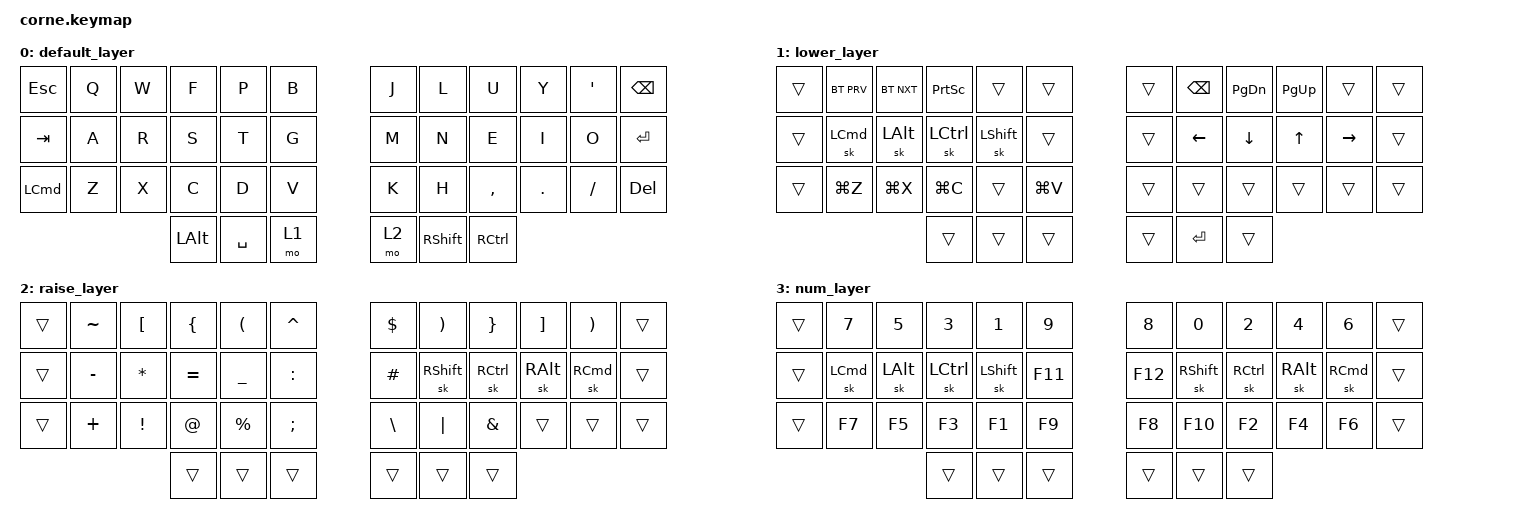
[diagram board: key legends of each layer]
/*
 * Copyright (c) 2020 The ZMK Contributors
 *
 * SPDX-License-Identifier: MIT
 */

#include <behaviors.dtsi>
#include <dt-bindings/zmk/keys.h>
#include <dt-bindings/zmk/bt.h>

/ {
      conditional_layers {
        compatible = "zmk,conditional-layers";

        tri_layer {
            if-layers = <1 2>;
            then-layer = <3>;
        };
    };

        keymap {
                compatible = "zmk,keymap";

                default_layer {
// -----------------------------------------------------------------------------------------
// | ESC  |  Q  |  W  |  F  |  P  |  B  |   |  J  |  L   |  U  |  Y  |  '  | BSPC |
// | TAB  |  A  |  R  |  S  |  T  |  G  |   |  M  |  N   |  E  |  I  |  O  | RET  |
// | CMD  |  Z  |  X  |  C  |  D  |  V  |   |  K  |  H   |  ,  |  .  |  /  | DEL  |
//                    | ALT | SPC | LWR |   | RSE | SHFT | CTRL|
                        bindings = <
   &kp ESC   &kp Q &kp W &kp F &kp P &kp B   &kp J &kp L  &kp U     &kp Y   &kp SQT  &kp BSPC
   &kp TAB   &kp A &kp R &kp S &kp T &kp G   &kp M &kp N  &kp E     &kp I   &kp O    &kp RET
   &kp LCMD &kp Z &kp X &kp C &kp D &kp V   &kp K &kp H  &kp COMMA &kp DOT &kp FSLH &kp DEL
                  &kp LALT &kp SPACE &mo 1    &mo 2 &kp RSHFT &kp RCTRL
                        >;
                };
                lower_layer {
// -----------------------------------------------------------------------------------------
// |      | BTPRV| BTNXT|PSCRN|     |     |   |     | BSPC| PGDN| PGUP|     |      |
// |      | sCMD | sALT | sCTR| sSFT|     |   |     | LEFT| DOWN|  UP | RGHT|      |
// |      | ⌘Z   | ⌘X   | ⌘C  |     | ⌘V  |   |     |     |     |     |     |      |
//                      |     |     |     |   |     | RET |     |
                        bindings = <
   &trans &bt BT_PRV &bt BT_NXT &kp PSCRN &trans    &trans      &trans &kp BSPC &kp PG_DN &kp PG_UP &trans    &trans
   &trans &sk LCMD   &sk LALT   &sk LCTRL &sk LSHFT &trans      &trans &kp LEFT &kp DOWN  &kp UP    &kp RIGHT &trans
   &trans &kp LG(Z)  &kp LG(X)  &kp LG(C) &trans    &kp LG(V)   &trans &trans   &trans    &trans    &trans    &trans
                             &trans     &trans       &trans     &trans  &kp RET    &trans
                        >;
                };

                raise_layer {
// -----------------------------------------------------------------------------------------
// |      |  ~  |  [  |  {  |  (  |  ^  |   |  $  |  )  |  }  |  ]  |  )  |      |
// |      |  -  |  *  |  =  |  _  |  :  |   |  #  | sSFT| sCTR| sALT| sCMD|      |
// |      |  +  |  !  |  @  |  %  |  ;  |   |  \  |  |  |  &  |     |     |      |
//                    |     |     |     |   |     |     |     |
                        bindings = <
   &trans  &kp TILDE &kp LBKT &kp LBRC &kp LPAR &kp CARET   &kp DLLR &kp RPAR  &kp RBRC &kp RBKT &kp RPAR &trans
   &trans &kp MINUS  &kp STAR &kp EQUAL &kp UNDER &kp COLON      &kp HASH &sk RSHFT &sk RCTRL &sk RALT  &sk RCMD  &trans
   &trans &kp PLUS   &kp EXCL &kp AT  &kp PRCNT  &kp SEMI      &kp BSLH &kp PIPE  &kp AMPS &trans &trans &trans
                             &trans &trans   &trans    &trans   &trans    &trans
                        >;
                };

                num_layer {
// -----------------------------------------------------------------------------------------
// |      |  7  |  5  |  3  |  1  |  9  |   |  8  |  0  |  2  |  4  |  6  |      |
// |      | sCMD| sALT| sCTR| sSFT| F11 |   | F12 | sSFT| sCTR| sALT| sCMD|      |
// |      |  F7 |  F5 |  F3 |  F1 |  F9 |   |  F8 | F10 |  F2 |  F4 |  F6 |      |
//                    |     |     |     |   |     |     |     |
                        bindings = <
   &trans &kp N7   &kp N5   &kp N3    &kp N1    &kp N9   &kp N8  &kp N0    &kp N2    &kp N4   &kp N6   &trans
   &trans &sk LCMD &sk LALT &sk LCTRL &sk LSHFT &kp F11  &kp F12 &sk RSHFT &sk RCTRL &sk RALT &sk RCMD &trans
   &trans &kp F7   &kp F5   &kp F3    &kp F1    &kp F9   &kp F8  &kp F10    &kp F2    &kp F4   &kp F6   &trans
                            &trans &trans   &trans      &trans   &trans    &trans
                        >;
                };

        };
};
